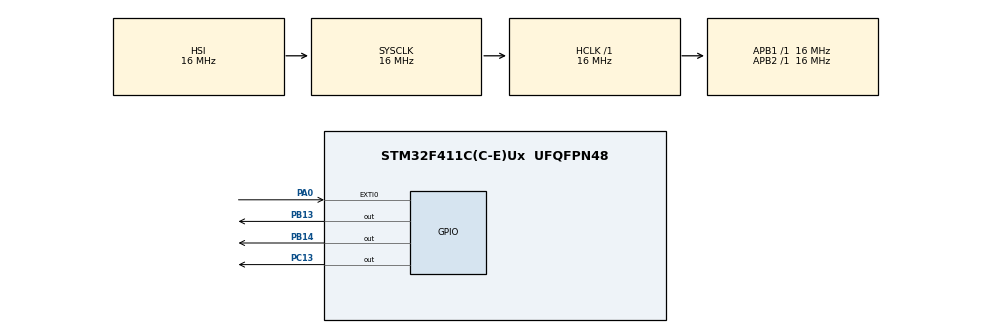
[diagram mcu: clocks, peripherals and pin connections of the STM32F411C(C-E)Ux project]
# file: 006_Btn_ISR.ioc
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Mcu.Family=STM32F4
Mcu.Name=STM32F411C(C-E)Ux
Mcu.Package=UFQFPN48
NVIC.EXTI0_IRQn=true\:6\:0\:true\:false\:true\:true\:true\:true
NVIC.PriorityGroup=NVIC_PRIORITYGROUP_4
NVIC.TIM2_IRQn=true\:15\:0\:false\:false\:true\:false\:true\:true
NVIC.TimeBase=TIM2_IRQn
NVIC.TimeBaseIP=TIM2
PA0-WKUP.Signal=GPXTI0
PB13.Signal=GPIO_Output
PB14.Signal=GPIO_Output
PC13-ANTI_TAMP.Signal=GPIO_Output
ProjectManager.HeapSize=0x200
ProjectManager.StackSize=0x400
ProjectManager.TargetToolchain=STM32CubeIDE
RCC.AHBFreq_Value=16000000
RCC.APB1Freq_Value=16000000
RCC.APB2Freq_Value=16000000
RCC.CortexFreq_Value=16000000
RCC.HSE_VALUE=25000000
RCC.HSI_VALUE=16000000
RCC.LSE_VALUE=32768
RCC.SYSCLKFreq_VALUE=16000000
RCC.VCOOutputFreq_Value=192000000
VP_SYS_VS_tim2.Mode=TIM2
board=custom

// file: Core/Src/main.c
/* USER CODE BEGIN Header */
/**
  ******************************************************************************
  * @file           : main.c
  * @brief          : Main program body
  ******************************************************************************
  * @attention
  *
  * Copyright (c) 2025 STMicroelectronics.
  * All rights reserved.
  *
  * This software is licensed under terms that can be found in the LICENSE file
  * in the root directory of this software component.
  * If no LICENSE file comes with this software, it is provided AS-IS.
  *
  ******************************************************************************
  */
/* USER CODE END Header */
#include "main.h"

/* USER CODE BEGIN Includes */
#include <stdio.h>
#include "FreeRTOS.h"
#include "task.h"
/* USER CODE END Includes */

/* USER CODE BEGIN PV */
#define DWT_CTRL   ( *(volatile uint32_t*) 0xE0001000 )
/* USER CODE END PV */

void SystemClock_Config(void);
static void MX_GPIO_Init(void);
/* USER CODE BEGIN PFP */
static void led1_handler(void* parameters);
static void led2_handler(void* parameters);
static void led3_handler(void* parameters);

TaskHandle_t task1_handler, task2_handler, task3_handler;
TaskHandle_t volatile next_task_handler = NULL;
/* USER CODE END PFP */

int main(void)
{

  /* USER CODE BEGIN 1 */
	BaseType_t status;
  /* USER CODE END 1 */

  /* MCU Configuration--------------------------------------------------------*/

  /* Reset of all peripherals, Initializes the Flash interface and the Systick. */
  HAL_Init();

  /* Configure the system clock */
  SystemClock_Config();

  /* Initialize all configured peripherals */
  MX_GPIO_Init();
  /* USER CODE BEGIN 2 */
  //enable the cycle count//
  DWT_CTRL |= (1 << 0);

  //calling the APIs to start recording
  SEGGER_SYSVIEW_Conf();
  SEGGER_SYSVIEW_Start();

  status = xTaskCreate(led1_handler, "Task - 1", configMINIMAL_STACK_SIZE * 2, "Executing task - 1", 3, &task1_handler);
  configASSERT(status == pdPASS);
  next_task_handler = task1_handler;

  status = xTaskCreate(led2_handler, "Task - 2", configMINIMAL_STACK_SIZE * 2, "Executing task - 2", 2, &task2_handler);
  configASSERT(status == pdPASS);

  status = xTaskCreate(led3_handler, "Task - 3", configMINIMAL_STACK_SIZE * 2, "Executing task - 3", 1, &task3_handler);
  configASSERT(status == pdPASS);

  //Starting the FreeRTOS Scheduler//
  vTaskStartScheduler();
  //if the control comes here then the launch of the scheduler has failed due to insufficient
  //memory in heap

  /* USER CODE END 2 */

  /* Infinite loop */
  while (1)
  {

  }
}

void SystemClock_Config(void)
{
  RCC_OscInitTypeDef RCC_OscInitStruct = {0};
  RCC_ClkInitTypeDef RCC_ClkInitStruct = {0};

  /** Configure the main internal regulator output voltage
  */
  __HAL_RCC_PWR_CLK_ENABLE();
  __HAL_PWR_VOLTAGESCALING_CONFIG(PWR_REGULATOR_VOLTAGE_SCALE1);

  /** Initializes the RCC Oscillators according to the specified parameters
  * in the RCC_OscInitTypeDef structure.
  */
  RCC_OscInitStruct.OscillatorType = RCC_OSCILLATORTYPE_HSI;
  RCC_OscInitStruct.HSIState = RCC_HSI_ON;
  RCC_OscInitStruct.HSICalibrationValue = RCC_HSICALIBRATION_DEFAULT;
  RCC_OscInitStruct.PLL.PLLState = RCC_PLL_NONE;
  if (HAL_RCC_OscConfig(&RCC_OscInitStruct) != HAL_OK)
  {
    Error_Handler();
  }

  /** Initializes the CPU, AHB and APB buses clocks
  */
  RCC_ClkInitStruct.ClockType = RCC_CLOCKTYPE_HCLK|RCC_CLOCKTYPE_SYSCLK
                              |RCC_CLOCKTYPE_PCLK1|RCC_CLOCKTYPE_PCLK2;
  RCC_ClkInitStruct.SYSCLKSource = RCC_SYSCLKSOURCE_HSI;
  RCC_ClkInitStruct.AHBCLKDivider = RCC_SYSCLK_DIV1;
  RCC_ClkInitStruct.APB1CLKDivider = RCC_HCLK_DIV1;
  RCC_ClkInitStruct.APB2CLKDivider = RCC_HCLK_DIV1;

  if (HAL_RCC_ClockConfig(&RCC_ClkInitStruct, FLASH_LATENCY_0) != HAL_OK)
  {
    Error_Handler();
  }
}

static void MX_GPIO_Init(void)
{
  GPIO_InitTypeDef GPIO_InitStruct = {0};

  /* GPIO Ports Clock Enable */
  __HAL_RCC_GPIOC_CLK_ENABLE();
  __HAL_RCC_GPIOA_CLK_ENABLE();
  __HAL_RCC_GPIOB_CLK_ENABLE();

  /*Configure GPIO pin Output Level */
  HAL_GPIO_WritePin(GPIOC, GPIO_PIN_13, GPIO_PIN_RESET);

  /*Configure GPIO pin Output Level */
  HAL_GPIO_WritePin(GPIOB, GPIO_PIN_13|GPIO_PIN_14, GPIO_PIN_RESET);

  /*Configure GPIO pin : PC13 */
  GPIO_InitStruct.Pin = GPIO_PIN_13;
  GPIO_InitStruct.Mode = GPIO_MODE_OUTPUT_PP;
  GPIO_InitStruct.Pull = GPIO_NOPULL;
  GPIO_InitStruct.Speed = GPIO_SPEED_FREQ_LOW;
  HAL_GPIO_Init(GPIOC, &GPIO_InitStruct);

  /*Configure GPIO pin : PA0 */
  GPIO_InitStruct.Pin = GPIO_PIN_0;
  GPIO_InitStruct.Mode = GPIO_MODE_IT_RISING;
  GPIO_InitStruct.Pull = GPIO_NOPULL;
  HAL_GPIO_Init(GPIOA, &GPIO_InitStruct);

  /*Configure GPIO pins : PB13 PB14 */
  GPIO_InitStruct.Pin = GPIO_PIN_13|GPIO_PIN_14;
  GPIO_InitStruct.Mode = GPIO_MODE_OUTPUT_PP;
  GPIO_InitStruct.Pull = GPIO_NOPULL;
  GPIO_InitStruct.Speed = GPIO_SPEED_FREQ_LOW;
  HAL_GPIO_Init(GPIOB, &GPIO_InitStruct);

  /* EXTI interrupt init*/
  HAL_NVIC_SetPriority(EXTI0_IRQn, 6, 0);
  HAL_NVIC_EnableIRQ(EXTI0_IRQn);

}

/* USER CODE BEGIN 4 */
void button_interrupt_handler(void)
{
	BaseType_t * pxHigherPriorityTaskWoken;
	pxHigherPriorityTaskWoken = pdFALSE;
	traceISR_ENTER(); // it helps the segger sysview target sources to detect the entry of an interrupt
	xTaskNotifyFromISR(next_task_handler, 0, eNoAction, &pxHigherPriorityTaskWoken);
	//when ISR exits it takes the higher prio task which got unbocked to resume on the CPU//
	portYIELD_FROM_ISR(pxHigherPriorityTaskWoken);
	traceISR_EXIT();
}
static void led1_handler(void* parameters)
{
	BaseType_t status;
	while(1)
	{
		SEGGER_SYSVIEW_PrintfTarget("Toggling the on-board LED");
		HAL_GPIO_TogglePin(GPIOC, GPIO_PIN_13);
		status = xTaskNotifyWait(0, 0, NULL, pdMS_TO_TICKS(1000));
		if(status == pdTRUE)
		{
			//it disables all the interrupts having prio values greater than syscall_interrupt_prio
			portENTER_CRITICAL();
			next_task_handler = task2_handler;
			HAL_GPIO_WritePin(GPIOC, GPIO_PIN_13, 0);
			SEGGER_SYSVIEW_PrintfTarget("Delete the Task-1");
			portEXIT_CRITICAL();
			vTaskDelete(NULL);
		}
	}
}
static void led2_handler(void* parameters)
{
	BaseType_t status;
	while(1)
	{
		SEGGER_SYSVIEW_PrintfTarget("Toggling PB13 pin");
		HAL_GPIO_TogglePin(GPIOB, GPIO_PIN_13);
		status = xTaskNotifyWait(0, 0, NULL, pdMS_TO_TICKS(800));
		if(status == pdTRUE)
		{
			//it disables all the interrupts having prio values greater than syscall_interrupt_prio
			portENTER_CRITICAL();
			next_task_handler = task3_handler;
			HAL_GPIO_WritePin(GPIOB, GPIO_PIN_13, 1);
			SEGGER_SYSVIEW_PrintfTarget("Delete the Task-2");
			portEXIT_CRITICAL();
			vTaskDelete(NULL);
		}
	}
}

static void led3_handler(void* parameters)
{
	BaseType_t status;
	while(1)
	{
		SEGGER_SYSVIEW_PrintfTarget("Toggling PB14 pin");
		HAL_GPIO_TogglePin(GPIOB, GPIO_PIN_14);
		status = xTaskNotifyWait(0, 0, NULL, pdMS_TO_TICKS(400));
		if(status == pdTRUE)
		{
			//it disables all the interrupts having prio values greater than syscall_interrupt_prio
			portENTER_CRITICAL();
			next_task_handler = NULL;
			HAL_GPIO_WritePin(GPIOB, GPIO_PIN_14, 1);
			SEGGER_SYSVIEW_PrintfTarget("Delete the Task-3");
			portEXIT_CRITICAL();
			vTaskDelete(NULL);
		}
	}
}

/* USER CODE END 4 */

void HAL_TIM_PeriodElapsedCallback(TIM_HandleTypeDef *htim)
{
  if (htim->Instance == TIM2)
  {
    HAL_IncTick();
  }
}

void Error_Handler(void)
{
  __disable_irq();
  while (1)
  {
  }
}
